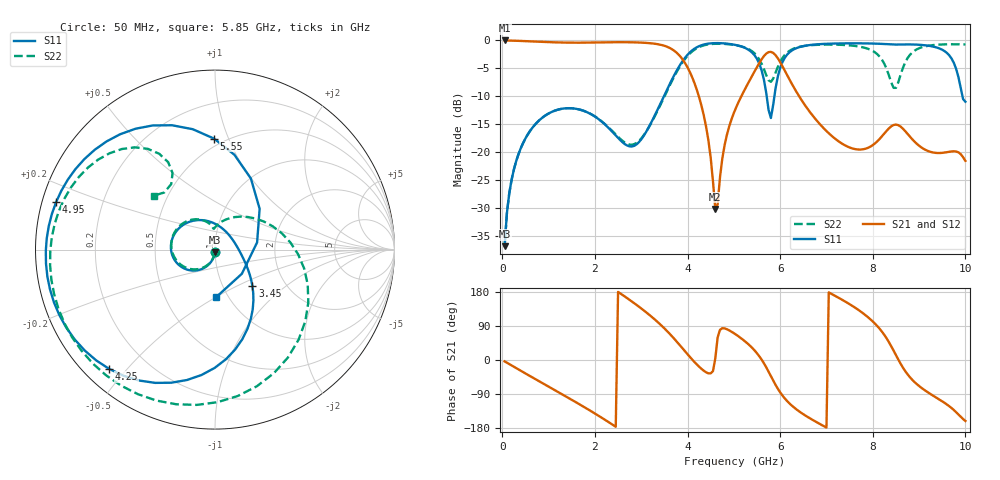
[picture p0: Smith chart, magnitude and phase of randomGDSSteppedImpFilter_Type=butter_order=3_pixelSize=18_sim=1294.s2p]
! freq	dB(S11)	phase(S11)	dB(S12)	phase(S12)
!  dB(S21)	phase(S21)	dB(S22)	phase(S22)
!S-par simulation data
#  GHz  S  DB  R 50
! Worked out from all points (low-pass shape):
!   200 points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, 50 MHz to 10 GHz, reference 50 ohm
!   highest |S21| = -0.01 dB at 50 MHz (marker M1); lowest = -30.2 dB at 4.6 GHz (marker M2)
!   |S21| within 3 dB of the highest: start of sweep to 3.856 GHz; 5.633 GHz to 5.932 GHz (299.5 MHz wide, 5.18 % of centre)
!   lowest |S11| = -36.9 dB at 50 MHz (marker M3), VSWR 1.03, Z = 49.9 - j1.43 ohm
!   |S11| at or under -10 dB: start of sweep to 3.491 GHz; 5.709 GHz to 5.876 GHz (167.3 MHz wide, 2.89 % of centre); 9.937 GHz to end of sweep
!   |S22| runs from -36.9 to -0.6 dB; largest |S21 - S12| = 0
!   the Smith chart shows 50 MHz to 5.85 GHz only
!   S11 on the Smith chart (normalised r, x): 50 MHz: 1.00, -0.03; 3.45 GHz: 1.37, -0.61; 4.25 GHz: 0.07, -0.45; 4.95 GHz: 0.04, +0.15; 5.55 GHz: 0.44, +0.89; 5.85 GHz: 0.88, -0.50
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0.05  -36.89 -93.0  -0.01 -3.6  -0.01 -3.6  -36.90 -93.2
0.55  -16.86 -128.0  -0.15 -39.0  -0.15 -39.0  -16.87 -130.9
1.75  -12.61 150.1  -0.40 -122.9  -0.40 -122.9  -12.60 143.6
2.6  -18.30 66.6  -0.32 171.4  -0.32 171.4  -18.04 96.3
3.4  -11.60 -40.0  -0.75 95.2  -0.75 95.2  -11.81 45.1
3.45  -10.72 -44.3  -0.84 89.4  -0.84 89.4  -10.94 37.7
3.9  -3.62 -90.1  -3.48 29.6  -3.48 29.6  -3.85 -38.4
4.25  -1.03 -131.5  -10.18 -17.7  -10.18 -17.7  -1.20 -96.8
4.6  -0.49 -166.4  -30.25 4.6  -30.25 4.6  -0.60 -142.8
4.95  -0.69 163.4  -14.14 74.7  -14.14 74.7  -0.74 -179.4
5.05  -0.84 154.6  -12.00 66.8  -12.00 66.8  -0.87 171.0
5.55  -4.18 90.4  -4.06 9.8  -4.06 9.8  -3.41 123.7
5.85  -11.54 -88.5  -2.24 -54.2  -2.24 -54.2  -6.85 138.6
6.15  -2.55 -178.2  -6.21 -108.3  -6.21 -108.3  -2.19 126.2
6.7  -0.77 130.9  -13.46 -158.0  -13.46 -158.0  -0.84 81.2
7.75  -0.53 76.3  -19.57 127.0  -19.57 127.0  -1.17 0.7
8.35  -0.70 48.6  -15.76 46.9  -15.76 46.9  -6.30 -107.2
8.5  -0.75 42.0  -15.09 13.0  -15.09 13.0  -8.51 164.7
8.75  -0.72 30.2  -16.75 -37.6  -16.75 -37.6  -3.19 60.8
9.1  -0.85 10.5  -19.46 -77.9  -19.46 -77.9  -1.13 8.5
9.75  -4.02 -60.3  -19.88 -131.9  -19.88 -131.9  -0.69 -38.7
10  -10.99 169.8  -21.61 -160.8  -21.61 -160.8  -0.72 -52.5
